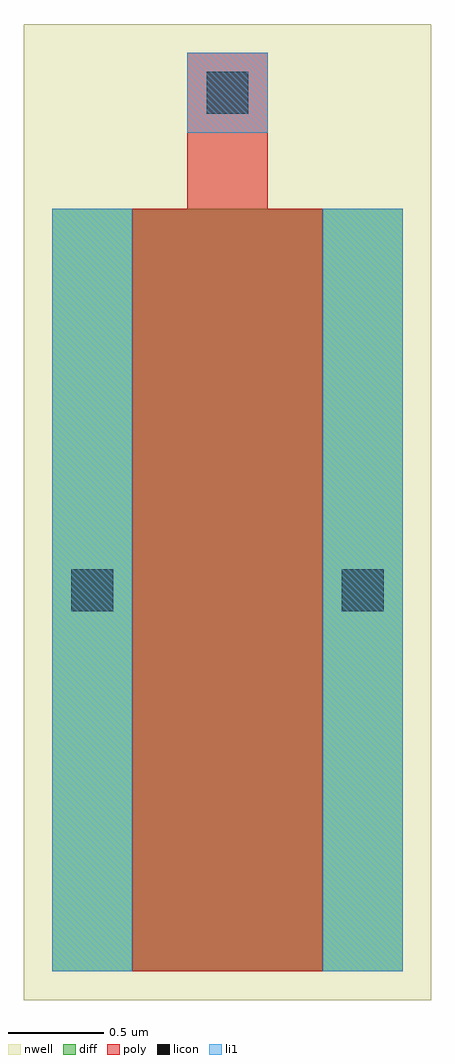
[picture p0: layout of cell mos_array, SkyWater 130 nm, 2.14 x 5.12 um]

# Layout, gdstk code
import gdstk
lib = gdstk.Library(unit=1e-6, precision=1e-09)
def R(c, l, rs):  # rectangles x0, y0, x1, y1
    for r in rs: c.add(gdstk.rectangle(r[:2], r[2:], *l))
nwell = (64, 20)
diff = (65, 20)
poly = (66, 20)
licon = (66, 44)
li1 = (67, 20)

mos_array = lib.new_cell('mos_array')
R(mos_array, nwell, [(-0.15,-0.15,1.99,4.97)])
R(mos_array, diff, [(0,0,1.84,4)])
R(mos_array, poly, [(0.42,0,1.42,4), (0.71,4,1.13,4.82)])
R(mos_array, licon, [(0.1,1.89,0.32,2.11), (1.52,1.89,1.74,2.11), (0.81,4.5,1.03,4.72)])
R(mos_array, li1, [(0,0,0.42,4), (1.42,0,1.84,4), (0.71,4.4,1.13,4.82)])

lib.write_gds('mos_array.gds')
